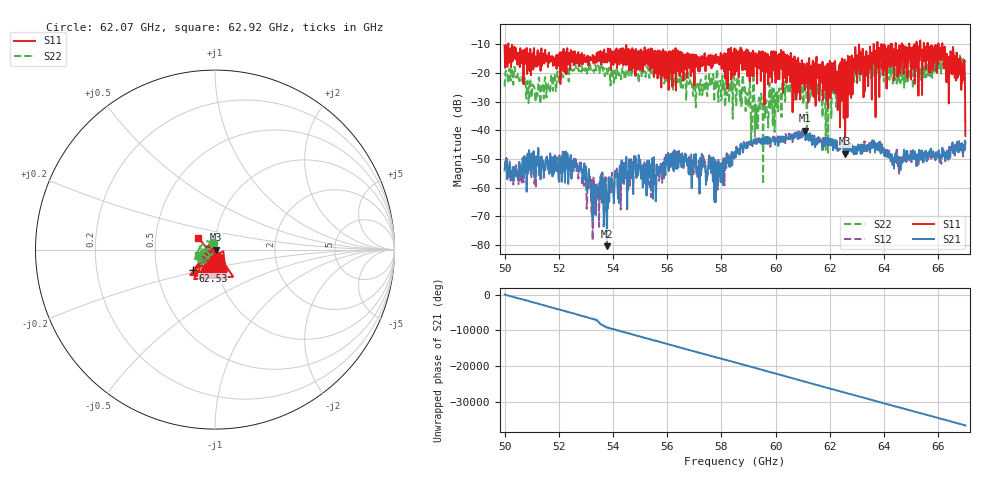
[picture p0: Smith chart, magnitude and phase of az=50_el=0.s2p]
!Created with skrf (http://scikit-rf.org).
# GHz S RI R 50.0
!freq ReS11 ImS11 ReS21 ImS21 ReS12 ImS12 ReS22 ImS22
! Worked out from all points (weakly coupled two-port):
!   1001 points, 50 GHz to 67 GHz, reference 50 ohm
!   highest |S21| = -40.09 dB at 61.07 GHz (marker M1); lowest = -80.4 dB at 53.77 GHz (marker M2)
!   lowest |S11| = -48.2 dB at 62.56 GHz (marker M3), VSWR 1.01, Z = 50.4 + j0.0474 ohm
!   |S11| at or under -10 dB: 50.14 GHz to 63.62 GHz (13.48 GHz wide, 23.7 % of centre); 63.76 GHz to 64.25 GHz (489.7 MHz wide, 0.765 % of centre); 66.15 GHz to end of sweep (the widest 3 of 15)
!   |S22| runs from -58.7 to -14.0 dB; largest |S21 - S12| = 0.0021
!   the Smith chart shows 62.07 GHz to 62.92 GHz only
!   S11 on the Smith chart (normalised r, x): 62.07 GHz: 1.04, -0.09; 62.53 GHz: 0.76, -0.18; 62.92 GHz: 0.82, +0.11
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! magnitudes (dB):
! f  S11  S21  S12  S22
! 50 GHz  -10.5  -54.0  -52.9  -24.8
! 51.38 GHz  -17.5  -53.0  -53.0  -24.7
! 52.84 GHz  -14.6  -54.3  -53.8  -19.7
! 53.28 GHz  -16.7  -59.2  -56.4  -19.1
! 53.77 GHz  -15.8  -80.4  -63.3  -19.0
! 54.4 GHz  -11.9  -57.9  -59.3  -19.9
! 55.68 GHz  -14.1  -53.1  -52.5  -22.2
! 56.34 GHz  -13.3  -53.5  -50.4  -21.7
! 57.77 GHz  -16.7  -50.3  -51.8  -22.5
! 58.5 GHz  -20.7  -48.4  -48.5  -24.0
! 59.61 GHz  -13.3  -42.6  -42.1  -34.0
! 60.32 GHz  -20.4  -44.1  -44.2  -23.0
! 61.07 GHz  -18.0  -40.1  -40.6  -21.2
! 61.34 GHz  -24.0  -45.1  -43.8  -24.9
! 62.07 GHz  -25.9  -44.5  -45.1  -28.4
! 62.53 GHz  -15.4  -45.0  -46.8  -19.0
! 62.56 GHz  -48.2  -45.5  -47.6  -19.4
! 62.92 GHz  -18.9  -48.3  -46.6  -20.0
! 64.18 GHz  -17.6  -47.9  -47.0  -18.6
! 66.08 GHz  -15.6  -48.5  -48.9  -15.6
! 66.9 GHz  -16.8  -47.8  -46.7  -15.1
! 67 GHz  -42.0  -44.1  -44.8  -15.6
